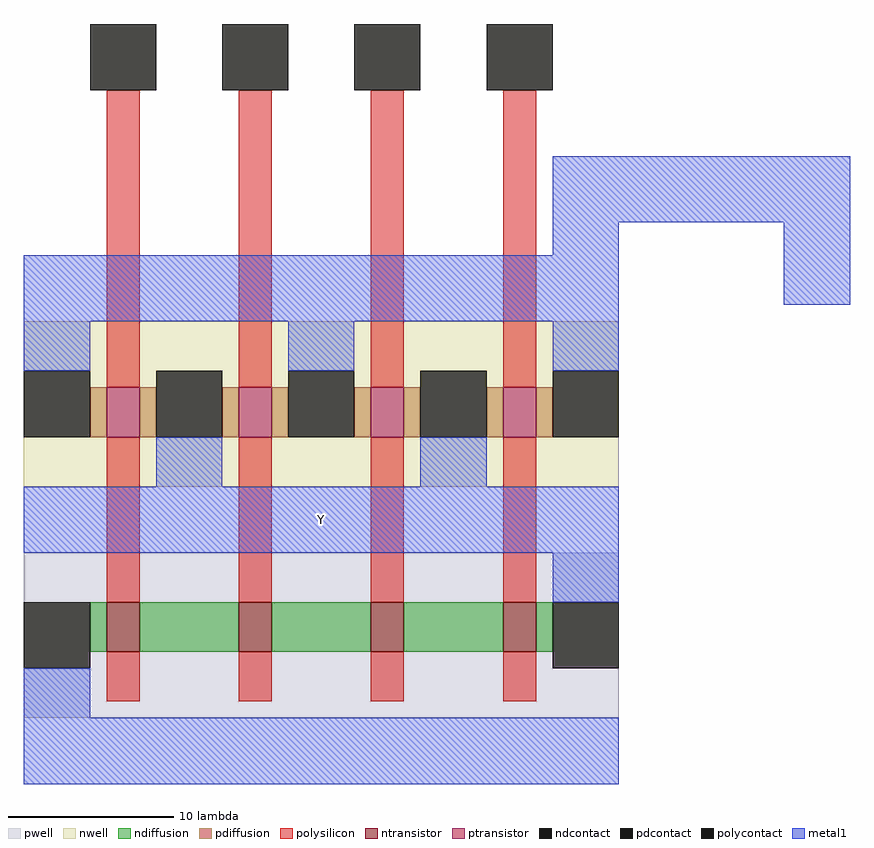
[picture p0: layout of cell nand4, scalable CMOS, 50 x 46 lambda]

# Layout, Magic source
magic
tech scmos
<< pwell >>
rect -7 -58 29 -48
<< nwell >>
rect -7 -44 29 -34
<< polysilicon >>
rect -2 -38 0 -20
rect 6 -38 8 -20
rect 14 -38 16 -20
rect 22 -38 24 -20
rect -2 -51 0 -41
rect 6 -51 8 -41
rect 14 -51 16 -41
rect 22 -51 24 -41
rect -2 -57 0 -54
rect 6 -57 8 -54
rect 14 -57 16 -54
rect 22 -57 24 -54
<< ndiffusion >>
rect -3 -54 -2 -51
rect 0 -54 6 -51
rect 8 -54 14 -51
rect 16 -54 22 -51
rect 24 -54 25 -51
<< pdiffusion >>
rect -3 -41 -2 -38
rect 0 -41 1 -38
rect 5 -41 6 -38
rect 8 -41 9 -38
rect 13 -41 14 -38
rect 16 -41 17 -38
rect 21 -41 22 -38
rect 24 -41 25 -38
<< metal1 >>
rect 25 -28 43 -24
rect 25 -30 29 -28
rect -7 -34 29 -30
rect 39 -33 43 -28
rect -7 -37 -3 -34
rect 9 -37 13 -34
rect 25 -37 29 -34
rect 1 -44 5 -41
rect 17 -44 21 -41
rect -7 -48 29 -44
rect 25 -51 29 -48
rect -7 -58 -3 -55
rect -7 -62 29 -58
<< ntransistor >>
rect -2 -54 0 -51
rect 6 -54 8 -51
rect 14 -54 16 -51
rect 22 -54 24 -51
<< ptransistor >>
rect -2 -41 0 -38
rect 6 -41 8 -38
rect 14 -41 16 -38
rect 22 -41 24 -38
<< polycontact >>
rect -3 -20 1 -16
rect 5 -20 9 -16
rect 13 -20 17 -16
rect 21 -20 25 -16
<< ndcontact >>
rect -7 -55 -3 -51
rect 25 -55 29 -51
<< pdcontact >>
rect -7 -41 -3 -37
rect 1 -41 5 -37
rect 9 -41 13 -37
rect 17 -41 21 -37
rect 25 -41 29 -37
<< labels >>
rlabel metal1 -7 -48 29 -44 1 Y
<< end >>
